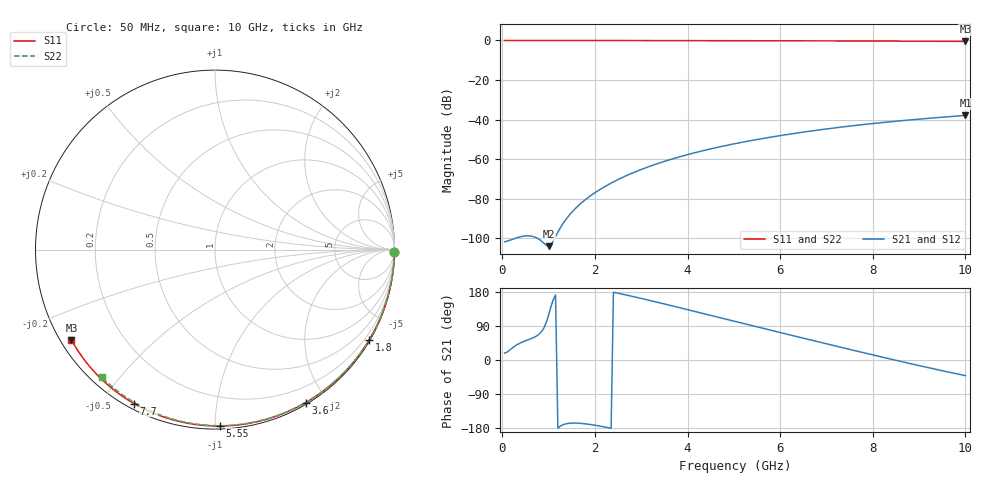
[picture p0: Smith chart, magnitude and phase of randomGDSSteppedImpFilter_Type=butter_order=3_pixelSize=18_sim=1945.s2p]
! freq	dB(S11)	phase(S11)	dB(S12)	phase(S12)
!  dB(S21)	phase(S21)	dB(S22)	phase(S22)
!S-par simulation data
#  GHz  S  DB  R 50
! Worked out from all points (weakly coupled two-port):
!   200 points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, 50 MHz to 10 GHz, reference 50 ohm
!   highest |S21| = -37.94 dB at 10 GHz (marker M1); lowest = -104.1 dB at 1 GHz (marker M2)
!   lowest |S11| = -0.5 dB at 10 GHz (marker M3), VSWR 35.41, Z = 1.53 - j14.4 ohm
!   |S11| at or under -10 dB: nowhere
!   |S22| runs from -0.4 to 0.0 dB; largest |S21 - S12| = 0
!   S11 on the Smith chart (normalised r, x): 50 MHz: open; 1.8 GHz: 0.03, -3.67; 3.6 GHz: 0.02, -1.75; 5.55 GHz: 0.02, -1.03; 7.7 GHz: 0.02, -0.60; 10 GHz: 0.03, -0.29
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0.05  -0.00 -0.9  -101.90 18.3  -101.90 18.3  -0.00 -0.8
0.5  -0.01 -8.6  -98.90 50.7  -98.90 50.7  -0.01 -7.6
1  -0.02 -17.1  -104.09 118.7  -104.09 118.7  -0.02 -15.1
1.75  -0.04 -29.6  -81.38 -167.9  -81.38 -167.9  -0.03 -26.3
1.8  -0.04 -30.5  -80.43 -168.6  -80.43 -168.6  -0.03 -27.0
1.85  -0.04 -31.3  -79.53 -169.3  -79.53 -169.3  -0.04 -27.7
2.05  -0.04 -34.6  -76.27 -173.1  -76.27 -173.1  -0.04 -30.7
2.2  -0.05 -37.1  -74.13 -176.4  -74.13 -176.4  -0.04 -32.9
2.55  -0.06 -42.7  -69.81 174.9  -69.81 174.9  -0.05 -37.9
2.95  -0.06 -49.2  -65.74 163.9  -65.74 163.9  -0.06 -43.7
3.4  -0.07 -56.3  -61.94 150.9  -61.94 150.9  -0.07 -50.0
3.6  -0.08 -59.4  -60.45 144.9  -60.45 144.9  -0.07 -52.8
3.9  -0.09 -64.0  -58.40 135.9  -58.40 135.9  -0.08 -56.9
4.3  -0.10 -70.1  -55.97 123.8  -55.97 123.8  -0.09 -62.4
5.05  -0.12 -81.1  -52.10 101.1  -52.10 101.1  -0.11 -72.4
5.55  -0.14 -88.3  -49.91 86.0  -49.91 86.0  -0.13 -78.8
6.1  -0.17 -96.1  -47.78 69.5  -47.78 69.5  -0.15 -85.8
6.7  -0.20 -104.3  -45.72 51.6  -45.72 51.6  -0.18 -93.2
7.7  -0.27 -117.7  -42.80 22.2  -42.80 22.2  -0.24 -105.2
8.35  -0.32 -126.3  -41.20 3.4  -41.20 3.4  -0.29 -112.8
9.2  -0.40 -137.3  -39.40 -20.3  -39.40 -20.3  -0.36 -122.5
10  -0.49 -147.8  -37.94 -41.2  -37.94 -41.2  -0.44 -131.6
